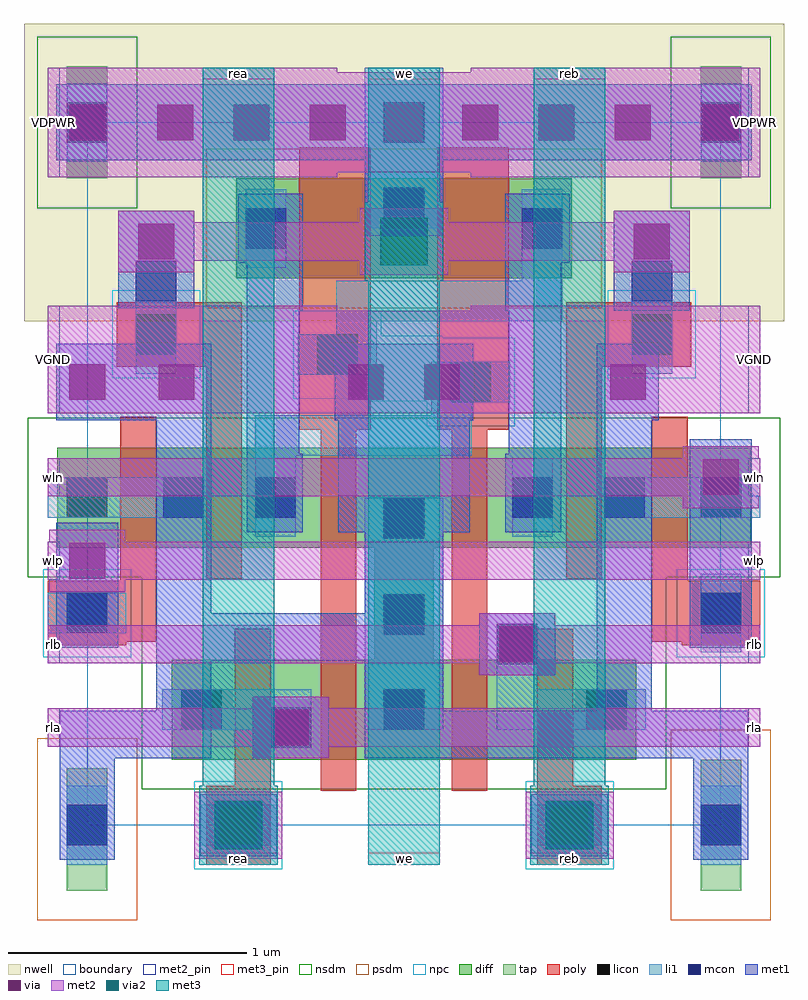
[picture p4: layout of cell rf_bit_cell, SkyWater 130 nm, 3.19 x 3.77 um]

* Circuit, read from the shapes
.subckt rf_bit_cell VDPWR VGND rea reb rla rlb we wln wlp
XM1 n1 wlp VGND VGND sky130_fd_pr__nfet_01v8 w=0.42 l=0.15
XM2 n2 we n1 VGND sky130_fd_pr__nfet_01v8 w=0.42 l=0.15
XM3 n3 rea rla VGND sky130_fd_pr__nfet_01v8 w=0.42 l=0.15
XM4 VGND n4 n3 VGND sky130_fd_pr__nfet_01v8 w=0.42 l=0.15
XM5 VGND n4 n2 VGND sky130_fd_pr__nfet_01v8 w=0.42 l=0.15
XM6 n5 n2 VGND VGND sky130_fd_pr__nfet_01v8 w=0.42 l=0.15
XM7 n4 n2 VGND VGND sky130_fd_pr__nfet_01v8 w=0.42 l=0.15
XM8 rlb reb n5 VGND sky130_fd_pr__nfet_01v8 w=0.42 l=0.15
XM9 n6 we n4 VGND sky130_fd_pr__nfet_01v8 w=0.42 l=0.15
XM10 VGND wln n6 VGND sky130_fd_pr__nfet_01v8 w=0.42 l=0.15
XM11 VDPWR n4 n2 VDPWR sky130_fd_pr__pfet_01v8 w=0.42 l=0.3
XM12 n4 n2 VDPWR VDPWR sky130_fd_pr__pfet_01v8 w=0.42 l=0.3
.ends

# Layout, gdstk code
import gdstk
lib = gdstk.Library(unit=1e-6, precision=1e-09)
def R(c, l, rs):  # rectangles x0, y0, x1, y1
    for r in rs: c.add(gdstk.rectangle(r[:2], r[2:], *l))
def A(c, l, x, y, w, h, nx, ny, dx, dy):  # array of equal rectangles
    R(c, l, [(x+i*dx, y+j*dy, x+i*dx+w, y+j*dy+h) for i in range(nx) for j in range(ny)])
nwell = (64, 20)
diff = (65, 20)
tap = (65, 44)
poly = (66, 20)
licon = (66, 44)
li1 = (67, 20)
mcon = (67, 44)
met1 = (68, 20)
via = (68, 44)
met2_pin = (69, 16)
met2 = (69, 20)
via2 = (69, 44)
met3_pin = (70, 16)
met3 = (70, 20)
nsdm = (93, 44)
psdm = (94, 20)
npc = (95, 20)
boundary = (235, 4)

rf_bit_cell = lib.new_cell('rf_bit_cell')
R(rf_bit_cell, nwell, [(-0.265,2.115,2.925,3.365)])
R(rf_bit_cell, diff, [(0.355,0.275,2.305,0.695), (1.205,0.695,1.455,1.165), (-0.125,1.165,2.785,1.585), (0.625,2.295,2.035,2.715)])
R(rf_bit_cell, tap, [(-0.085,-0.275,0.085,0.24), (2.575,-0.275,2.745,0.275), (-0.085,2.715,0.085,3.185), (2.575,2.715,2.745,3.185)])
R(rf_bit_cell, poly, [(0.5,-0.165,0.77,0.165), (1.89,-0.165,2.16,0.165), (0.98,0.145,1.13,1.66), (1.53,0.145,1.68,1.66), (0.62,0.165,0.77,0.825), (1.89,0.165,2.04,0.825), (-0.165,0.755,0.165,0.77), (2.495,0.755,2.825,0.77), (-0.165,0.77,0.29,1.025), (2.37,0.77,2.825,1.025), (0.14,1.025,0.29,1.715), (2.37,1.025,2.52,1.715), (0.5,1.035,0.65,1.925), (2.01,1.035,2.16,1.925), (0.89,1.66,1.19,2.845), (1.47,1.66,1.77,2.845), (0.125,1.925,0.65,2.195), (2.01,1.925,2.535,2.195)])
A(rf_bit_cell, licon, 0.395, 0.4, 0.17, 0.17, 3, 1, 0.85, 0)
R(rf_bit_cell, licon, [(-0.085,-0.085,0.085,0.085), (0.55,-0.085,0.72,0.085), (1.94,-0.085,2.11,0.085), (2.575,-0.085,2.745,0.085), (1.245,0.8,1.415,0.97), (-0.085,0.805,0.085,0.975), (2.575,0.805,2.745,0.975), (1.245,1.205,1.415,1.375), (-0.085,1.29,0.085,1.46), (0.705,1.29,0.875,1.46), (1.785,1.29,1.955,1.46), (2.575,1.29,2.745,1.46), (1.525,1.775,1.695,1.945), (0.965,1.89,1.135,2.06), (0.205,1.975,0.375,2.145), (2.285,1.975,2.455,2.145), (0.665,2.42,0.835,2.59), (1.825,2.42,1.995,2.59), (1.245,2.505,1.415,2.675), (-0.085,2.865,0.085,3.035), (2.575,2.865,2.745,3.035)])
R(rf_bit_cell, li1, [(-0.085,-0.165,0.085,0.165), (2.575,-0.165,2.745,0.165), (0.47,-0.085,0.8,0.085), (1.86,-0.085,2.19,0.085), (0.77,0.325,0.94,0.4), (0.315,0.4,0.94,0.57), (1.165,0.4,1.495,1.375), (1.72,0.4,2.345,0.57), (1.72,0.57,1.89,0.845), (2.575,0.725,2.745,1.055), (-0.165,0.805,0.165,0.975), (0.705,1.21,0.875,1.55), (1.785,1.21,1.955,1.54), (-0.165,1.29,0.49,1.46), (2.17,1.29,2.825,1.46), (0.705,1.55,1.615,1.72), (1.445,1.72,1.615,1.775), (1.445,1.775,1.775,1.945), (0.885,1.89,1.215,2.06), (0.205,1.895,0.375,2.37), (2.285,1.895,2.455,2.37), (1.045,2.06,1.215,2.115), (1.045,2.115,1.995,2.285), (1.825,2.285,1.995,2.67), (0.665,2.34,0.835,2.67), (1.165,2.505,1.495,3.18), (-0.085,2.785,0.085,3.115), (2.575,2.785,2.745,3.115)])
A(rf_bit_cell, mcon, -0.085, 2.865, 0.17, 0.17, 3, 1, 1.33, 0)
R(rf_bit_cell, mcon, [(-0.085,-0.085,0.085,0.085), (0.55,-0.085,0.72,0.085), (1.94,-0.085,2.11,0.085), (2.575,-0.085,2.745,0.085), (0.77,0.325,0.94,0.495), (1.245,0.4,1.415,0.57), (1.72,0.675,1.89,0.845), (1.245,0.8,1.415,0.97), (-0.085,0.805,0.085,0.975), (2.575,0.805,2.745,0.975), (1.245,1.205,1.415,1.375), (0.32,1.29,0.49,1.46), (0.705,1.29,0.875,1.46), (1.785,1.29,1.955,1.46), (2.17,1.29,2.34,1.46), (0.205,2.2,0.375,2.37), (2.285,2.2,2.455,2.37), (0.665,2.42,0.835,2.59), (1.825,2.42,1.995,2.59), (1.245,2.505,1.415,2.675)])
R(rf_bit_cell, met1, [(-0.115,-0.145,0.115,0.28), (2.545,-0.145,2.775,0.28), (0.475,-0.13,0.795,0.13), (1.865,-0.13,2.185,0.13), (-0.115,0.28,0.52,0.48), (0.695,0.28,1.015,0.54), (1.165,0.28,2.775,0.48), (0.29,0.48,0.52,0.69), (1.165,0.48,1.495,0.69), (2.14,0.48,2.37,1.7), (1.645,0.63,1.965,0.89), (0.29,0.69,1.495,0.89), (-0.13,0.745,0.13,1.27), (2.53,0.745,2.79,1.62), (0.29,0.89,0.52,1.7), (1.165,0.89,1.495,1.23), (0.67,1.23,0.905,1.56), (1.055,1.23,1.605,1.7), (1.755,1.23,1.99,1.56), (0.67,1.56,0.89,2.16), (1.77,1.56,1.99,2.16), (-0.13,1.7,0.52,2.02), (1.04,1.7,1.62,2.02), (2.14,1.7,2.4,2.02), (0.67,2.16,0.905,2.36), (1.755,2.16,1.99,2.36), (2.21,2.16,2.53,2.58), (0.13,2.17,0.45,2.58), (0.635,2.36,0.905,2.65), (1.755,2.36,2.025,2.65), (1.165,2.475,1.495,2.79), (-0.13,2.79,2.79,3.11)])
A(rf_bit_cell, via, 0.295, 2.875, 0.15, 0.15, 7, 1, 0.32, 0)
R(rf_bit_cell, via, [(0.56,-0.075,0.71,0.075), (1.95,-0.075,2.1,0.075), (0.78,0.335,0.93,0.485), (1.73,0.685,1.88,0.835), (-0.075,1.035,0.075,1.185), (2.585,1.385,2.735,1.535), (-0.075,1.785,0.075,1.935), (0.3,1.785,0.45,1.935), (1.095,1.785,1.245,1.935), (1.415,1.785,1.565,1.935), (2.195,1.785,2.345,1.935), (0.215,2.375,0.365,2.525), (2.295,2.375,2.445,2.525), (-0.075,2.875,0.075,3.025), (2.585,2.875,2.735,3.025)])
A(rf_bit_cell, met2_pin, -0.165, 0.33, 0.05, 0.16, 1, 4, 0, 0.35)
A(rf_bit_cell, met2_pin, 2.775, 0.33, 0.05, 0.16, 1, 4, 0, 0.35)
R(rf_bit_cell, met2_pin, [(-0.165,1.73,-0.115,2.18), (2.775,1.73,2.825,2.18), (-0.165,2.72,-0.115,3.18), (2.775,2.72,2.825,3.18)])
A(rf_bit_cell, met2, -0.165, 0.33, 2.99, 0.16, 1, 4, 0, 0.35)
R(rf_bit_cell, met2, [(0.45,-0.14,0.82,0.14), (1.84,-0.14,2.21,0.14), (0.695,0.28,1.015,0.33), (0.695,0.49,1.015,0.54), (1.645,0.63,1.965,0.68), (1.645,0.84,1.965,0.89), (-0.16,0.98,0.16,1.03), (-0.16,1.19,0.16,1.24), (2.5,1.33,2.82,1.38), (2.5,1.54,2.82,1.59), (-0.165,1.73,2.825,2.16), (-0.165,2.16,1.05,2.18), (1.61,2.16,2.825,2.18), (1.145,2.31,1.515,2.37), (0.13,2.32,0.45,2.37), (2.21,2.32,2.53,2.37), (0.13,2.37,2.53,2.53), (0.13,2.53,0.45,2.58), (1.145,2.53,1.515,2.59), (2.21,2.53,2.53,2.58), (-0.165,2.72,1.05,2.74), (1.61,2.72,2.825,2.74), (-0.165,2.74,2.825,3.16), (-0.165,3.16,1.05,3.18), (1.61,3.16,2.825,3.18)])
R(rf_bit_cell, via2, [(0.535,-0.1,0.735,0.1), (1.925,-0.1,2.125,0.1), (1.23,2.35,1.43,2.55)])
A(rf_bit_cell, met3_pin, 0.485, 3.13, 0.3, 0.05, 3, 1, 0.695, 0)
R(rf_bit_cell, met3_pin, [(0.47,-0.165,0.8,-0.115), (1.18,-0.165,1.48,-0.115), (1.86,-0.165,2.19,-0.115)])
R(rf_bit_cell, met3, [(0.47,-0.165,0.8,0.165), (1.18,-0.165,1.48,2.285), (1.86,-0.165,2.19,0.165), (0.485,0.165,0.785,3.18), (1.875,0.165,2.175,3.18), (1.165,2.285,1.495,2.615), (1.18,2.615,1.48,3.18)])
R(rf_bit_cell, nsdm, [(0.23,0.15,2.43,1.04), (-0.25,1.04,2.91,1.71), (-0.21,2.59,0.21,3.31), (2.45,2.59,2.87,3.31)])
R(rf_bit_cell, psdm, [(-0.21,-0.4,0.21,0.365), (2.45,-0.4,2.87,0.4), (0.5,2.17,2.16,2.84)])
R(rf_bit_cell, npc, [(0.45,-0.185,0.82,0.185), (1.84,-0.185,2.21,0.185), (-0.185,0.705,0.185,1.075), (2.475,0.705,2.845,1.075), (1.425,1.675,1.795,1.78), (1.17,1.78,1.795,1.79), (0.865,1.79,1.795,2.045), (0.105,1.875,0.475,2.245), (2.185,1.875,2.555,2.245), (0.865,2.045,1.49,2.055), (0.865,2.055,1.235,2.16)])
R(rf_bit_cell, boundary, [(0,0,2.66,2.95)])
rf_bit_cell.add(gdstk.Label('VGND', (2.8,1.955), layer=69, texttype=5))
rf_bit_cell.add(gdstk.Label('VGND', (-0.14,1.955), layer=69, texttype=5))
rf_bit_cell.add(gdstk.Label('VDPWR', (2.8,2.95), layer=69, texttype=5))
rf_bit_cell.add(gdstk.Label('VDPWR', (-0.14,2.95), layer=69, texttype=5))
rf_bit_cell.add(gdstk.Label('we', (1.33,3.155), layer=70, texttype=5))
rf_bit_cell.add(gdstk.Label('we', (1.33,-0.14), layer=70, texttype=5))
rf_bit_cell.add(gdstk.Label('wlp', (2.8,1.11), layer=69, texttype=5))
rf_bit_cell.add(gdstk.Label('wlp', (-0.14,1.11), layer=69, texttype=5))
rf_bit_cell.add(gdstk.Label('wln', (2.8,1.46), layer=69, texttype=5))
rf_bit_cell.add(gdstk.Label('wln', (-0.14,1.46), layer=69, texttype=5))
rf_bit_cell.add(gdstk.Label('rea', (0.635,3.155), layer=70, texttype=5))
rf_bit_cell.add(gdstk.Label('rea', (0.635,-0.14), layer=70, texttype=5))
rf_bit_cell.add(gdstk.Label('reb', (2.025,3.155), layer=70, texttype=5))
rf_bit_cell.add(gdstk.Label('reb', (2.025,-0.14), layer=70, texttype=5))
rf_bit_cell.add(gdstk.Label('rla', (2.8,0.41), layer=69, texttype=5))
rf_bit_cell.add(gdstk.Label('rla', (-0.14,0.41), layer=69, texttype=5))
rf_bit_cell.add(gdstk.Label('rlb', (2.8,0.76), layer=69, texttype=5))
rf_bit_cell.add(gdstk.Label('rlb', (-0.14,0.76), layer=69, texttype=5))

lib.write_gds('rf_bit_cell.gds')
